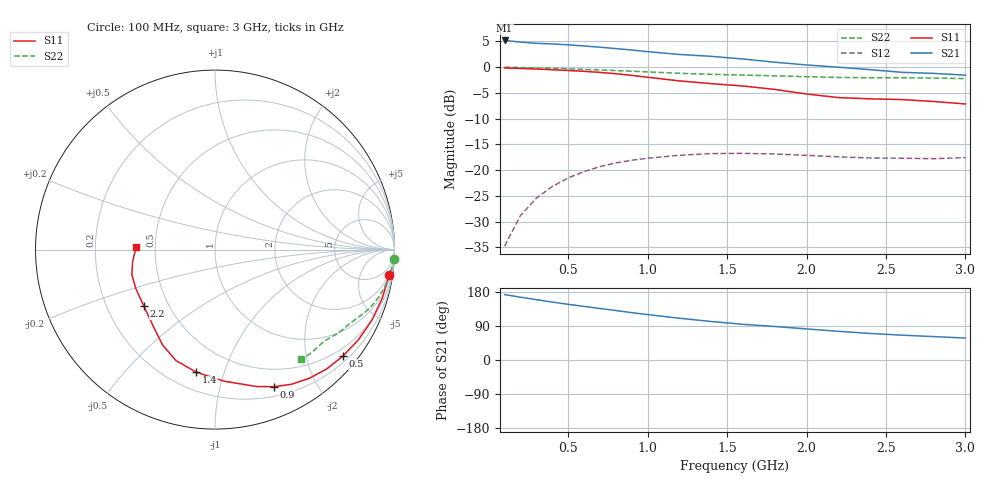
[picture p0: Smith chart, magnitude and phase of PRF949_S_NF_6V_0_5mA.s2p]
! Philips part #:  PRF949  Date:  Dec 1999
! Bias condition:  Vce=6V, Ic=0.5mA
#  MHz  S  MA  R 50
! Freq  S11  S21  S12  S22  :
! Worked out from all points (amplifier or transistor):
!   20 points, 100 MHz to 3 GHz, reference 50 ohm
!   highest |S21| = 5.2 dB at 100 MHz (marker M1)
!   |S21| within 3 dB of that: start of sweep to 1.355 GHz
!   unconditionally stable (mu >= 1): 2.609 GHz to end of sweep
!   at 400 MHz: K = 0.13, MSG = 13.8 dB, |S12| = -23.2 dB
!   at 1.2 GHz: K = 0.40, MSG = 9.8 dB, |S12| = -17.1 dB
!   at 3 GHz: K = 1.19, MAG = 5.4 dB, |S12| = -17.6 dB
!   lowest NFmin = 1.15 dB at 500 MHz
!   S11 on the Smith chart (normalised r, x): 100 MHz: 2, -14; 500 MHz: 0.32, -2.73; 900 MHz: 0.30, -1.48; 1.4 GHz: 0.31, -0.81; 2.2 GHz: 0.36, -0.31; 3 GHz: 0.39, +0.02
100  0.9802 -8.2  1.815 172.6  0.01825 84.6  0.9972 -2.9
200  0.9707 -16.2  1.75 165.7  0.03625 79.9  0.9904 -5.7
300  0.9585 -24.2  1.704 159.2  0.05339 75.4  0.9823 -8.4
400  0.9439 -32.1  1.678 152.9  0.06941 71.2  0.9731 -11.1
500  0.9273 -39.8  1.646 147.0  0.08389 67.4  0.9619 -13.6
600  0.9104 -47.0  1.604 141.4  0.09682 63.8  0.95 -15.9
700  0.8888 -53.9  1.561 135.9  0.1081 60.4  0.9387 -18.1
800  0.8631 -60.4  1.513 130.6  0.1174 57.2  0.9263 -19.9
900  0.8312 -66.8  1.466 124.9  0.1246 54.1  0.9128 -21.7
1000  0.7976 -73.0  1.413 119.9  0.1304 51.5  0.8989 -23.4
1200  0.7351 -86.0  1.327 110.2  0.1392 46.7  0.8719 -26.6
1400  0.6913 -98.6  1.273 101.6  0.1447 42.9  0.8508 -29.7
1600  0.6557 -109.3  1.2 94.2  0.1454 40.8  0.8373 -32.6
1800  0.6074 -118.6  1.116 88.4  0.1434 40.4  0.8238 -35.0
2000  0.5482 -128.9  1.05 82.0  0.1391 40.4  0.8073 -37.4
2200  0.5062 -141.5  0.9985 75.7  0.1344 41.7  0.7941 -40.3
2400  0.4919 -153.6  0.9445 70.1  0.1312 44.9  0.788 -43.4
2600  0.4839 -163.2  0.8905 65.6  0.1305 50.1  0.7876 -46.3
2800  0.4637 -171.8  0.8695 61.8  0.129 55.9  0.783 -48.8
3000  0.4387 177.8  0.836 58.0  0.1322 62.8  0.7734 -51.7
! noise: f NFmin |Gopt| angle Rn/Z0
500  1.15  0.68  20  0.94
800  1.28  0.75  37  0.82
900  1.47  0.67  38  0.84
1000  1.75  0.64  44  0.79
1500  2.02  0.54  77  0.61
2000  2.35  0.48  124  0.28
